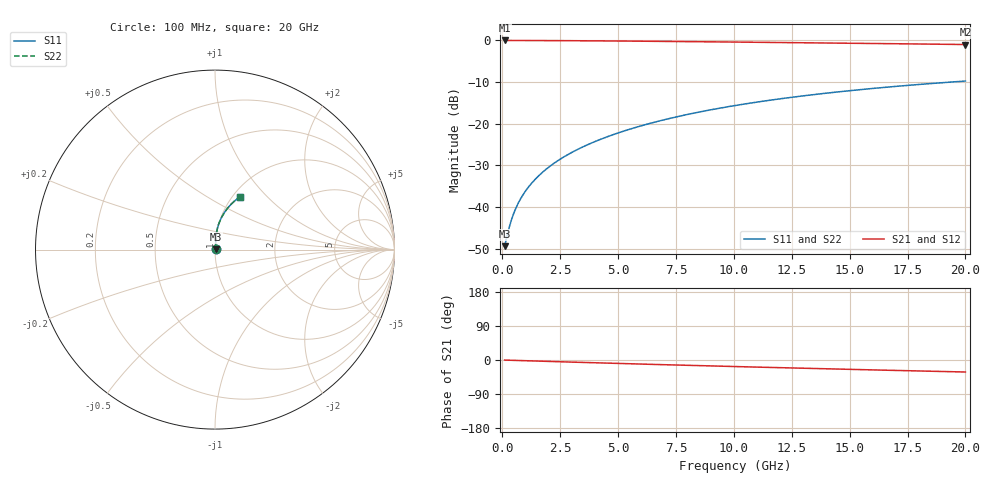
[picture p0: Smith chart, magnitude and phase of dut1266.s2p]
! Touchstone file exported from HFSS 2024.1.0
!  File:  C:/UserFiles/LocalFiles/RDL_TSV_Batchsim/temp_RDL_bottom_1266_1780246049.aedt
!  Generated:  12:50:24 AM Jun  1, 2026
!  Design:  RDL_bottom
!  Project:  temp_RDL_bottom_1266_1780246049
!  Setup:  Setup1
!  Solution:  Sweep
! Variables:
!  dtsv = 10.80580581um
!  hbump = 3um
!  htsv = 95.44um
!  ldown = 391.49um
!  lrdl = 100um
!  p = 40
!  p1 = 57.9um
!  rhole = 1um
!  t = 450um
!  tdown = 2.17um
!  trdl = 3.915915916um
!  wdown = 24.47um
!  wrdl = 20um
# GHz S MA R 50.000000
! Terminal data exported
! Port[1] = RDL1_T1
! Port[2] = RDL1_T2
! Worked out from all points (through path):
!   200 points, 100 MHz to 20 GHz, reference 50 ohm
!   highest |S21| = -0.03 dB at 100 MHz (marker M1); lowest = -1.0 dB at 20 GHz (marker M2)
!   group delay of S21, straight-line fit = 4.37 ps
!   lowest |S11| = -49.4 dB at 100 MHz (marker M3), VSWR 1.01, Z = 50.3 + j0.163 ohm
!   |S11| at or under -10 dB: start of sweep to 19.4 GHz
!   |S22| runs from -49.4 to -9.8 dB; largest |S21 - S12| = 3.4e-15
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0.1  0.00339 28.5  0.997 -0.2  0.997 -0.2  0.00339 28.5
! Gamma 0 0 0 0
! Port Impedance 50 0 50 0
0.3  0.005716 56.6  0.9968 -0.6  0.9968 -0.6  0.005716 56.6
0.4  0.007087 62.7  0.9966 -0.8  0.9966 -0.8  0.007087 62.7
0.5  0.008482 66.7  0.9965 -1.0  0.9965 -1.0  0.008482 66.7
0.6  0.009883 69.6  0.9963 -1.2  0.9963 -1.2  0.009883 69.6
0.8  0.01269 73.6  0.996 -1.5  0.996 -1.5  0.01269 73.6
1.1  0.01693 77.3  0.9955 -2.1  0.9955 -2.1  0.01693 77.3
1.3  0.01979 79.0  0.9951 -2.4  0.9951 -2.4  0.01979 79.0
1.6  0.02412 80.9  0.9945 -3.0  0.9945 -3.0  0.02412 80.9
2.1  0.03149 82.9  0.9933 -3.9  0.9933 -3.9  0.03149 82.9
2.7  0.04055 84.3  0.9915 -5.0  0.9915 -5.0  0.04055 84.3
3.5  0.053 85.3  0.9886 -6.4  0.9886 -6.4  0.053 85.3
4.2  0.06423 85.5  0.9857 -7.7  0.9857 -7.7  0.06423 85.5
5  0.07742 85.5  0.982 -9.1  0.982 -9.1  0.07741 85.4
5.9  0.09262 85.0  0.9775 -10.6  0.9775 -10.6  0.09262 85.0
6.8  0.1081 84.2  0.9727 -12.1  0.9727 -12.1  0.1081 84.2
8.4  0.1361 82.3  0.9636 -14.7  0.9636 -14.7  0.1361 82.3
10.1  0.166 79.9  0.9536 -17.4  0.9536 -17.4  0.1659 79.9
11.7  0.1937 77.5  0.944 -19.8  0.944 -19.8  0.1937 77.5
13.4  0.2225 74.8  0.9335 -22.4  0.9335 -22.4  0.2225 74.8
16.7  0.2758 69.7  0.9126 -27.1  0.9126 -27.1  0.2758 69.7
20  0.3249 64.7  0.8912 -31.7  0.8912 -31.7  0.3248 64.7
